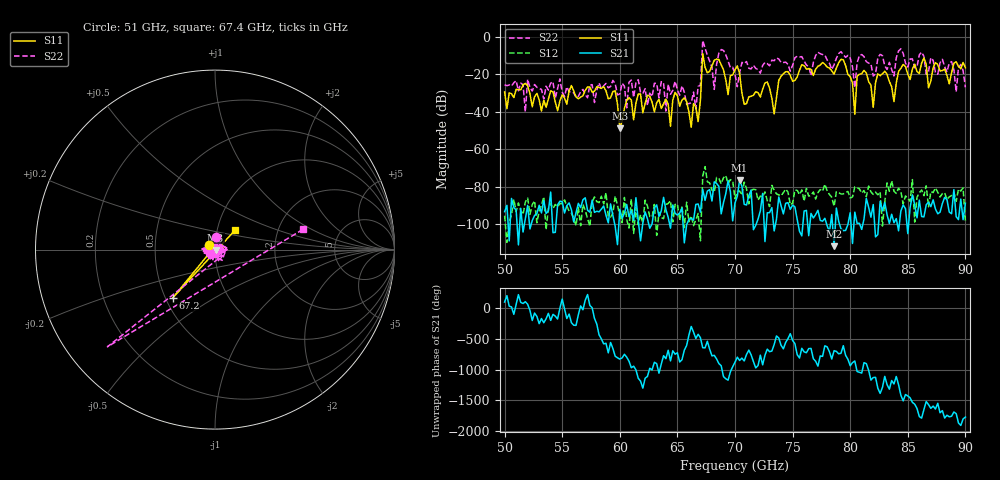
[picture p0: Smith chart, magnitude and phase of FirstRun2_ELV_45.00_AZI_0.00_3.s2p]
! 11/24/2026 3:15:30 PM
! C:\ANRITSUVNA\TEMP\TEMP.S2P
! CHANNEL.1
! TR.MEASUREMENT
! RAW.DATA
# HZ S RI R 50.0
! FREQ.HZ  S11RE  S11IM  S21RE  S21IM  S12RE  S12IM  S22RE  S22IM
!; PortSelection: Port_12
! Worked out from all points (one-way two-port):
!   201 points, 50 GHz to 90 GHz, reference 50 ohm
!   highest |S21| = -76.60 dB at 70.4 GHz (marker M1); lowest = -111.9 dB at 78.6 GHz (marker M2)
!   lowest |S11| = -48.9 dB at 60 GHz (marker M3), VSWR 1.01, Z = 50.3 - j0.145 ohm
!   |S11| at or under -10 dB: start of sweep to 67.19 GHz; 67.23 GHz to end of sweep
!   |S22| runs from -40.0 to -1.9 dB; largest |S21 - S12| = 0.0003
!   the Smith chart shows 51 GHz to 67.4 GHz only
!   S11 on the Smith chart (normalised r, x): 51 GHz: 0.94, +0.05; 67.2 GHz: 0.54, -0.34; 67.4 GHz: 1.22, +0.27
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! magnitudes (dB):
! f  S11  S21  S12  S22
! 50 GHz  -29.3  -93.4  -95.6  -25.6
! 51 GHz  -28.0  -92.5  -93.4  -23.4
! 56.8 GHz  -31.4  -87.0  -89.5  -28.0
! 59.6 GHz  -28.8  -101.3  -85.0  -24.9
! 60 GHz  -48.9  -92.1  -95.4  -30.5
! 63.4 GHz  -33.3  -95.9  -93.8  -32.6
! 66.8 GHz  -45.2  -89.3  -94.4  -26.4
! 67.2 GHz  -8.9  -81.5  -74.3  -1.9
! 67.4 GHz  -16.1  -87.4  -69.3  -6.0
! 68.2 GHz  -12.5  -77.4  -83.1  -28.0
! 68.8 GHz  -14.8  -94.6  -78.6  -6.7
! 70 GHz  -17.4  -88.7  -86.4  -19.9
! 70.4 GHz  -19.5  -76.6  -82.3  -19.2
! 73.4 GHz  -41.1  -103.7  -82.0  -12.7
! 74.2 GHz  -19.6  -94.6  -83.1  -13.6
! 76.8 GHz  -20.6  -96.8  -82.9  -13.6
! 78.6 GHz  -19.9  -111.9  -90.6  -14.8
! 79.4 GHz  -12.2  -103.5  -83.9  -9.4
! 80.4 GHz  -41.3  -93.7  -80.2  -27.1
! 80.6 GHz  -21.0  -99.6  -80.6  -13.9
! 83.4 GHz  -23.8  -99.7  -82.5  -13.6
! 90 GHz  -16.4  -88.9  -98.4  -27.0
